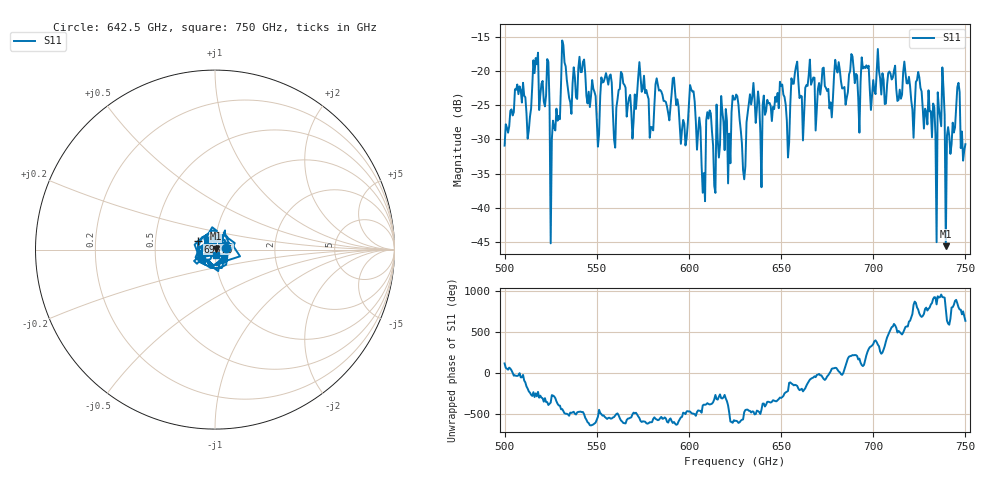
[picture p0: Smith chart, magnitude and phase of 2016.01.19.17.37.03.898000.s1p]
!Created with skrf (http://scikit-rf.org).
# GHz S RI R 50.0
!freq ReS11 ImS11
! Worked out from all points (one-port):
!   401 points, 500 GHz to 750 GHz, reference 50 ohm
!   lowest |S11| = -45.6 dB at 739.4 GHz (marker M1), VSWR 1.01, Z = 50.3 + j0.445 ohm
!   |S11| at or under -10 dB: start of sweep to end of sweep
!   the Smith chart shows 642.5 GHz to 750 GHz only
!   S11 on the Smith chart (normalised r, x): 642.5 GHz: 1.13, +0.02; 695.6 GHz: 0.82, +0.08; 750 GHz: 1.00, -0.06
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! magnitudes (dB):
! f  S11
! 500 GHz  -30.9
! 506.9 GHz  -22.0
! 513.1 GHz  -28.7
! 516.9 GHz  -18.1
! 523.1 GHz  -18.3
! 526.2 GHz  -27.3
! 531.2 GHz  -15.6
! 550.6 GHz  -31.1
! 562.5 GHz  -22.7
! 593.8 GHz  -24.2
! 601.9 GHz  -23.0
! 607.5 GHz  -37.8
! 610.6 GHz  -27.0
! 615 GHz  -24.9
! 625 GHz  -24.2
! 629.4 GHz  -34.5
! 633.8 GHz  -24.9
! 642.5 GHz  -24.2
! 653.8 GHz  -32.6
! 656.2 GHz  -21.9
! 687.5 GHz  -20.0
! 695.6 GHz  -19.6
! 718.8 GHz  -21.8
! 733.1 GHz  -25.3
! 737.5 GHz  -19.5
! 739.4 GHz  -45.6
! 745.6 GHz  -22.4
! 750 GHz  -30.7
